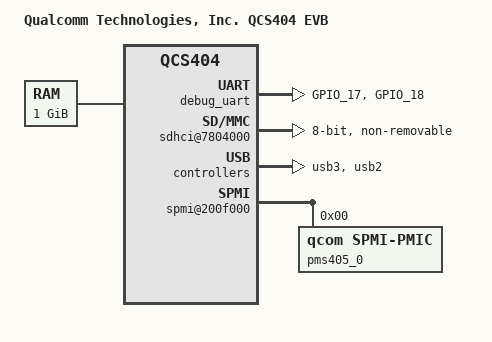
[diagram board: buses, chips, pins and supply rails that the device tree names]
// SPDX-License-Identifier: GPL-2.0+
/*
 * Qualcomm QCS404 based evaluation board device tree source
 *
 * (C) Copyright 2022 Sumit Garg <sumit.garg@linaro.org>
 */

/dts-v1/;

#include "skeleton64.dtsi"
#include <dt-bindings/gpio/gpio.h>
#include <dt-bindings/pinctrl/pinctrl-snapdragon.h>
#include <dt-bindings/clock/qcom,gcc-qcs404.h>

/ {
	model = "Qualcomm Technologies, Inc. QCS404 EVB";
	compatible = "qcom,qcs404-evb", "qcom,qcs404";
	#address-cells = <0x2>;
	#size-cells = <0x2>;

	chosen {
		stdout-path = "serial0:115200n8";
	};

	aliases {
		serial0 = &debug_uart;
	};

	memory {
		device_type = "memory";
		reg = <0 0x80000000 0 0x40000000>;
	};

	soc {
		#address-cells = <0x1>;
		#size-cells = <0x1>;
		ranges = <0x0 0x0 0x0 0xffffffff>;
		compatible = "simple-bus";

		pinctrl_north@1300000 {
			compatible = "qcom,qcs404-pinctrl";
			reg = <0x1300000 0x200000>;

			blsp1_uart2: uart {
				pins = "GPIO_17", "GPIO_18";
				function = "blsp_uart2";
			};
		};

		gcc: clock-controller@1800000 {
			compatible = "qcom,gcc-qcs404";
			reg = <0x1800000 0x80000>;
			#address-cells = <0x1>;
			#size-cells = <0x0>;
			#clock-cells = <1>;
		};

		reset: gcc-reset@1800000 {
			compatible = "qcom,gcc-reset-qcs404";
			reg = <0x1800000 0x80000>;
			#reset-cells = <1>;
		};

		debug_uart: serial@78b1000 {
			compatible = "qcom,msm-uartdm-v1.4";
			reg = <0x78b1000 0x200>;
			clock = <&gcc GCC_BLSP1_UART2_APPS_CLK>,
				<&gcc GCC_BLSP1_AHB_CLK>;
			bit-rate = <0xFF>;
			pinctrl-names = "uart";
			pinctrl-0 = <&blsp1_uart2>;
		};

		sdhci@7804000 {
			compatible = "qcom,sdhci-msm-v5";
			reg = <0x7804000 0x1000 0x7805000 0x1000>;
			clock = <&gcc GCC_SDCC1_APPS_CLK>,
				<&gcc GCC_SDCC1_AHB_CLK>;
			bus-width = <0x8>;
			index = <0x0>;
			non-removable;
			mmc-ddr-1_8v;
			mmc-hs400-1_8v;
		};

		usb3_phy: phy@78000 {
			compatible = "qcom,usb-ss-28nm-phy";
			#phy-cells = <0>;
			reg = <0x78000 0x400>;
			clocks = <&gcc GCC_USB_HS_PHY_CFG_AHB_CLK>,
				 <&gcc GCC_USB3_PHY_PIPE_CLK>;
			clock-names = "ahb", "pipe";
			resets = <&reset GCC_USB3_PHY_BCR>,
				 <&reset GCC_USB3PHY_PHY_BCR>;
			reset-names = "com", "phy";
		};

		usb2_phy_prim: phy@7a000 {
			compatible = "qcom,usb-hs-28nm-femtophy";
			#phy-cells = <0>;
			reg = <0x7a000 0x200>;
			clocks = <&gcc GCC_USB_HS_PHY_CFG_AHB_CLK>,
				 <&gcc GCC_USB2A_PHY_SLEEP_CLK>;
			clock-names = "ahb", "sleep";
			resets = <&reset GCC_USB_HS_PHY_CFG_AHB_BCR>,
				 <&reset GCC_USB2A_PHY_BCR>;
			reset-names = "phy", "por";
		};

		usb2_phy_sec: phy@7c000 {
			compatible = "qcom,usb-hs-28nm-femtophy";
			#phy-cells = <0>;
			reg = <0x7c000 0x200>;
			clocks = <&gcc GCC_USB_HS_PHY_CFG_AHB_CLK>,
				 <&gcc GCC_USB2A_PHY_SLEEP_CLK>;
			clock-names = "ahb", "sleep";
			resets = <&reset GCC_QUSB2_PHY_BCR>,
				 <&reset GCC_USB2_HS_PHY_ONLY_BCR>;
			reset-names = "phy", "por";
		};

		usb3: usb@7678800 {
			compatible = "qcom,dwc3";
			reg = <0x7678800 0x400>;
			#address-cells = <1>;
			#size-cells = <1>;
			ranges;
			clocks = <&gcc GCC_USB30_MASTER_CLK>,
				 <&gcc GCC_SYS_NOC_USB3_CLK>,
				 <&gcc GCC_USB30_SLEEP_CLK>,
				 <&gcc GCC_USB30_MOCK_UTMI_CLK>;
			clock-names = "core", "iface", "sleep", "mock_utmi";

			dwc3@7580000 {
				compatible = "snps,dwc3";
				reg = <0x7580000 0xcd00>;
				phys = <&usb2_phy_prim>, <&usb3_phy>;
				phy-names = "usb2-phy", "usb3-phy";
				dr_mode = "host";
				snps,has-lpm-erratum;
				snps,hird-threshold = /bits/ 8 <0x10>;
				snps,usb3_lpm_capable;
				maximum-speed = "super-speed";
			};
		};

		usb2: usb@79b8800 {
			compatible = "qcom,dwc3";
			reg = <0x79b8800 0x400>;
			#address-cells = <1>;
			#size-cells = <1>;
			ranges;
			clocks = <&gcc GCC_USB_HS_SYSTEM_CLK>,
				 <&gcc GCC_PCNOC_USB2_CLK>,
				 <&gcc GCC_USB_HS_INACTIVITY_TIMERS_CLK>,
				 <&gcc GCC_USB20_MOCK_UTMI_CLK>;
			clock-names = "core", "iface", "sleep", "mock_utmi";

			dwc3@78c0000 {
				compatible = "snps,dwc3";
				reg = <0x78c0000 0xcc00>;
				phys = <&usb2_phy_sec>;
				phy-names = "usb2-phy";
				dr_mode = "peripheral";
				snps,has-lpm-erratum;
				snps,hird-threshold = /bits/ 8 <0x10>;
				snps,usb3_lpm_capable;
				maximum-speed = "high-speed";
			};
		};

		spmi@200f000 {
			compatible = "qcom,spmi-pmic-arb";
			reg = <0x200f000 0x1000
			       0x2400000 0x400000
			       0x2c00000 0x400000>;
			#address-cells = <0x1>;
			#size-cells = <0x1>;

			pms405_0: pms405@0 {
				compatible = "qcom,spmi-pmic";
				reg = <0x0 0x1>;
				#address-cells = <0x1>;
				#size-cells = <0x1>;

				pms405_gpios: pms405_gpios@c000 {
					compatible = "qcom,pms405-gpio";
					reg = <0xc000 0x400>;
					gpio-controller;
					gpio-count = <12>;
					#gpio-cells = <2>;
					gpio-bank-name="pmic";
				};
			};
		};
	};
};

#include "qcs404-evb-uboot.dtsi"
